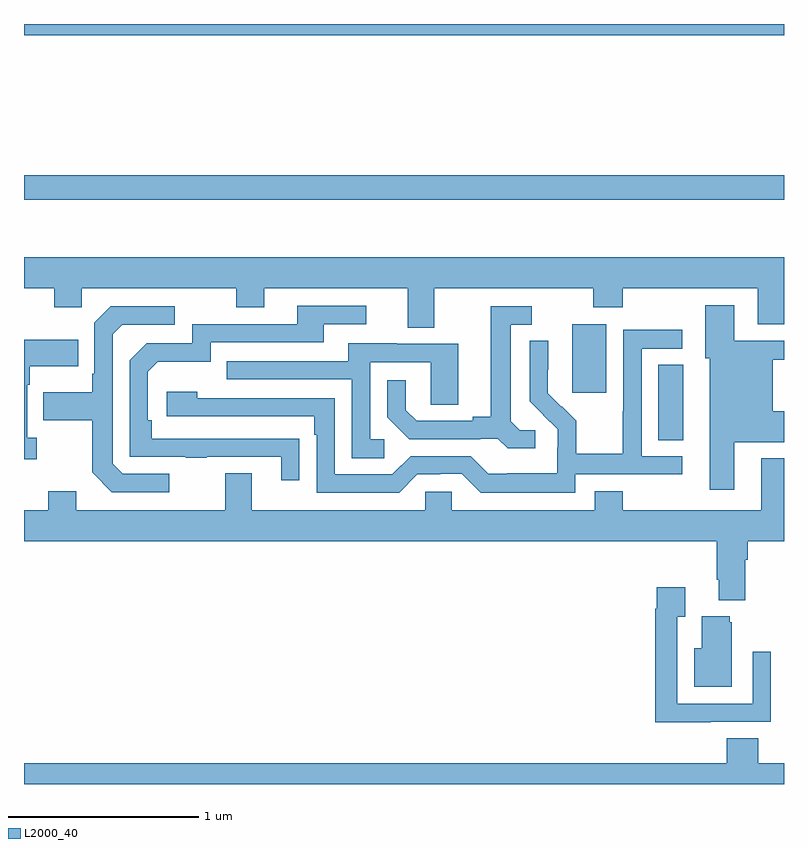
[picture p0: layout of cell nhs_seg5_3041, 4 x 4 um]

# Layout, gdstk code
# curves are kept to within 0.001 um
import gdstk
lib = gdstk.Library(unit=1e-6, precision=1e-09)
def R(c, l, rs):  # rectangles x0, y0, x1, y1
    for r in rs: c.add(gdstk.rectangle(r[:2], r[2:], *l))
def P(c, l, *ps):  # polygons
    for p in ps: c.add(gdstk.Polygon(p, *l))
L2000_40 = (2000, 40)

nhs_seg5_3041 = lib.new_cell('nhs_seg5_3041')
R(nhs_seg5_3041, L2000_40, [(290.339,874.609,290.47,875.006), (289.886,874.857,290.065,875.218), (287,875.874,291,876.002), (287,876.74,291,876.799)])
P(nhs_seg5_3041, L2000_40, [(287,875.408),(287.158,875.408),(287.158,875.309),(287.304,875.309),(287.304,875.408),(288.118,875.408),(288.118,875.309),(288.265,875.309),(288.265,875.408),(289.019,875.408),(289.019,875.2),(289.159,875.2),(289.159,875.408),(289.996,875.408),(289.996,875.309),(290.151,875.309),(290.151,875.408),(290.861,875.408),(290.861,875.218),(291,875.218),(291,875.572),(287,875.572)],
  [(290.737,874.598),(291,874.598),(291,874.762),(290.941,874.762),(290.941,875.032),(291,875.032),(291,875.133),(290.737,875.133),(290.737,875.32),(290.585,875.32),(290.585,875.04),(290.609,875.04),(290.609,874.347),(290.737,874.347)],
  [(288.449,874.616),(287.672,874.617),(287.672,874.714),(287.652,874.714),(287.652,874.968),(287.705,875.021),(287.982,875.021),(287.982,875.124),(288.577,875.124),(288.577,875.22),(288.802,875.22),(288.802,875.316),(288.437,875.316),(288.437,875.22),(287.886,875.22),(287.886,875.118),(287.646,875.118),(287.556,875.028),(287.556,874.521),(287.851,874.521),(287.851,874.516),(287.963,874.516),(287.963,874.521),(288.353,874.521),(288.353,874.398),(288.449,874.398)],
  [(287.764,874.431),(287.52,874.431),(287.466,874.485),(287.466,875.166),(287.517,875.217),(287.794,875.217),(287.794,875.313),(287.457,875.313),(287.37,875.226),(287.37,874.957),(287.358,874.957),(287.358,874.861),(287.101,874.861),(287.101,874.714),(287.358,874.714),(287.358,874.441),(287.463,874.335),(287.764,874.335)],
  [(289.69,874.662),(289.608,874.662),(289.561,874.709),(289.561,875.217),(289.672,875.217),(289.672,875.313),(289.457,875.313),(289.457,874.733),(289.361,874.733),(289.361,874.71),(289.066,874.71),(289.009,874.767),(289.009,874.924),(288.912,874.924),(288.912,874.73),(289.028,874.614),(289.4,874.614),(289.4,874.617),(289.494,874.617),(289.546,874.565),(289.69,874.565)],
  [(289.902,874.428),(290.464,874.428),(290.464,874.524),(290.25,874.524),(290.25,875.091),(290.464,875.091),(290.464,875.19),(290.154,875.19),(290.154,874.76),(290.152,874.76),(290.152,874.537),(289.907,874.537),(289.907,874.711),(289.83,874.788),(289.827,874.785),(289.757,874.856),(289.758,875.132),(289.662,875.132),(289.662,874.814),(289.808,874.666),(289.808,874.569),(289.806,874.569),(289.806,874.435),(289.543,874.435),(289.543,874.431),(289.443,874.431),(289.35,874.524),(289.035,874.524),(288.939,874.428),(288.636,874.428),(288.636,874.83),(287.912,874.83),(287.912,874.864),(287.751,874.864),(287.751,874.734),(288.527,874.734),(288.527,874.637),(288.54,874.637),(288.54,874.332),(288.975,874.332),(289.071,874.428),(289.19,874.428),(289.19,874.431),(289.305,874.431),(289.405,874.331),(289.902,874.331)],
  [(287.068,874.622),(287.016,874.622),(287.016,874.901),(287.029,874.901),(287.029,874.997),(287.285,874.997),(287.285,875.137),(287,875.137),(287,874.509),(287.068,874.509)],
  [(288.895,874.614),(288.822,874.614),(288.822,875.019),(289.14,875.019),(289.14,874.795),(289.285,874.795),(289.285,875.115),(288.961,875.115),(288.961,875.119),(288.707,875.119),(288.707,875.025),(288.067,875.025),(288.067,874.929),(288.726,874.929),(288.726,874.513),(288.895,874.513)],
  [(290.797,873.98),(290.81,873.98),(290.81,874.076),(291,874.076),(291,874.513),(290.879,874.513),(290.879,874.24),(290.151,874.24),(290.151,874.339),(290.003,874.339),(290.003,874.24),(289.251,874.24),(289.251,874.338),(289.113,874.338),(289.113,874.24),(288.199,874.24),(288.199,874.435),(288.059,874.435),(288.059,874.24),(287.275,874.24),(287.275,874.339),(287.128,874.339),(287.128,874.24),(287,874.24),(287,874.076),(290.645,874.076),(290.645,873.874),(290.657,873.874),(290.657,873.767),(290.797,873.767)],
  [(290.615,873.126),(290.931,873.126),(290.931,873.496),(290.835,873.496),(290.835,873.222),(290.439,873.222),(290.439,873.679),(290.479,873.679),(290.479,873.835),(290.331,873.835),(290.331,873.722),(290.323,873.722),(290.323,873.125),(290.615,873.125)],
  [(290.725,873.651),(290.714,873.651),(290.714,873.682),(290.567,873.682),(290.567,873.514),(290.528,873.514),(290.528,873.311),(290.725,873.311)],
  [(291,872.908),(290.864,872.908),(290.864,873.041),(290.699,873.041),(290.699,872.908),(287,872.908),(287,872.799),(291,872.799)])

lib.write_gds('nhs_seg5_3041.gds')
